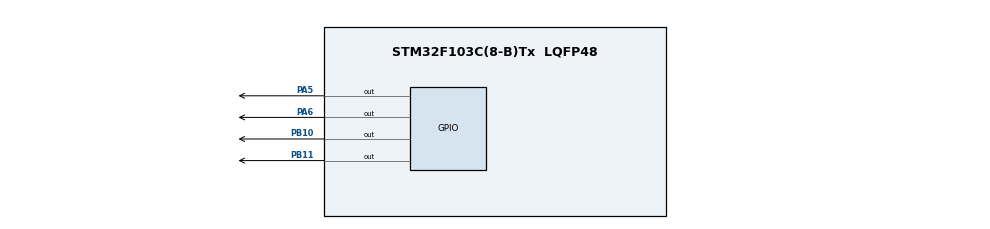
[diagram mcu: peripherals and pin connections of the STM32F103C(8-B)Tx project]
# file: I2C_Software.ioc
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Mcu.Family=STM32F1
Mcu.Name=STM32F103C(8-B)Tx
Mcu.Package=LQFP48
NVIC.PriorityGroup=NVIC_PRIORITYGROUP_4
PA13.Mode=Serial_Wire
PA13.Signal=SYS_JTMS-SWDIO
PA14.Mode=Serial_Wire
PA14.Signal=SYS_JTCK-SWCLK
PA5.Signal=GPIO_Output
PA6.Signal=GPIO_Output
PB10.Signal=GPIO_Output
PB11.Signal=GPIO_Output
ProjectManager.HeapSize=0x200
ProjectManager.StackSize=0x400
ProjectManager.TargetToolchain=STM32CubeIDE
RCC.APB1Freq_Value=8000000
RCC.APB2Freq_Value=8000000
board=custom

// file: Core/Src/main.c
/* USER CODE BEGIN Header */
/**
  ******************************************************************************
  * @file           : main.c
  * @brief          : Main program body
  ******************************************************************************
  * @attention
  *
  * Copyright (c) 2023 STMicroelectronics.
  * All rights reserved.
  *
  * This software is licensed under terms that can be found in the LICENSE file
  * in the root directory of this software component.
  * If no LICENSE file comes with this software, it is provided AS-IS.
  *
  ******************************************************************************
  */
/* USER CODE END Header */
#include "main.h"
#include "stm32f1xx_hal.h"

/* USER CODE BEGIN PD */
#define I2C_PIN_SCL GPIO_PIN_10
#define I2C_PIN_SDA GPIO_PIN_11
#define I2C_GPIO_PORT GPIOB
#define I2C_READ 1
#define I2C_WRITE 0

/* USER CODE END PD */

void SystemClock_Config(void);
static void MX_GPIO_Init(void);
void i2c_init(void);
void i2c_start(void);
void i2c_stop(void);
void i2c_write(uint8_t);

/* USER CODE BEGIN 0 */
void i2c_init(void)
{
  // Khởi tạo các chân GPIO cho I2C
  GPIO_InitTypeDef GPIO_InitStruct;

  GPIO_InitStruct.Pin = I2C_PIN_SCL | I2C_PIN_SDA;
  GPIO_InitStruct.Mode = GPIO_MODE_OUTPUT_OD;
  GPIO_InitStruct.Pull = GPIO_NOPULL;
  GPIO_InitStruct.Speed = GPIO_SPEED_FREQ_HIGH;
  HAL_GPIO_Init(I2C_GPIO_PORT, &GPIO_InitStruct);

  // Đặt giá tr�? ban đầu cho các chân GPIO
  HAL_GPIO_WritePin(I2C_GPIO_PORT, I2C_PIN_SCL | I2C_PIN_SDA, GPIO_PIN_SET);
}

void i2c_start(void)
{
  // Đặt chân SDA th�?nh đầu ra v�? đặt giá tr�? HIGH
  GPIO_InitTypeDef GPIO_InitStruct;

  GPIO_InitStruct.Pin = I2C_PIN_SDA;
  GPIO_InitStruct.Mode = GPIO_MODE_OUTPUT_OD;
  GPIO_InitStruct.Pull = GPIO_NOPULL;
  GPIO_InitStruct.Speed = GPIO_SPEED_FREQ_HIGH;
  HAL_GPIO_Init(I2C_GPIO_PORT, &GPIO_InitStruct);

  HAL_GPIO_WritePin(I2C_GPIO_PORT, I2C_PIN_SDA, GPIO_PIN_SET);
  HAL_GPIO_WritePin(I2C_GPIO_PORT, I2C_PIN_SCL, GPIO_PIN_SET);

  // Đợi một chút trước khi ghi giá tr�? LOW v�?o chân SDA
  HAL_Delay(1);

  HAL_GPIO_WritePin(I2C_GPIO_PORT, I2C_PIN_SDA, GPIO_PIN_RESET);

  // Đợi một chút trước khi ghi giá tr�? LOW v�?o chân SCL
  HAL_Delay(1);

  HAL_GPIO_WritePin(I2C_GPIO_PORT, I2C_PIN_SCL, GPIO_PIN_RESET);
}

void i2c_stop(void)
{
  // Đặt chân SDA th�?nh đầu ra v�? đặt giá tr�? LOW
  GPIO_InitTypeDef GPIO_InitStruct;

  GPIO_InitStruct.Pin = I2C_PIN_SDA;
  GPIO_InitStruct.Mode = GPIO_MODE_OUTPUT_OD;
  GPIO_InitStruct.Pull = GPIO_NOPULL;
  GPIO_InitStruct.Speed = GPIO_SPEED_FREQ_HIGH;
  HAL_GPIO_Init(I2C_GPIO_PORT, &GPIO_InitStruct);

  HAL_GPIO_WritePin(I2C_GPIO_PORT, I2C_PIN_SDA, GPIO_PIN_RESET);
  HAL_GPIO_WritePin(I2C_GPIO_PORT, I2C_PIN_SCL, GPIO_PIN_SET);

  // Đợi một chút trước khi đặt giá tr�? HIGH v�?o chân SDA
  HAL_Delay(1);

  HAL_GPIO_WritePin(I2C_GPIO_PORT, I2C_PIN_SDA, GPIO_PIN_SET);
}

void i2c_write(uint8_t data)
{
  // Ghi từng bit của dữ liệu v�?o chân SDA
  for (uint8_t i = 0; i < 8; i++) {
    if ((data & (1 << (7 - i))) != 0) {
      HAL_GPIO_WritePin(I2C_GPIO_PORT, I2C_PIN_SDA, GPIO_PIN_SET);
    } else {
      HAL_GPIO_WritePin(I2C_GPIO_PORT, I2C_PIN_SDA, GPIO_PIN_RESET);
    }

    // Đợi một chút trước khi ghi giá tr�? HIGH v�?o chân SCL
    HAL_Delay(1);

    HAL_GPIO_WritePin(I2C_GPIO_PORT, I2C_PIN_SCL, GPIO_PIN_SET);

    // Đợi một chút trước khi ghi giá tr�? LOW v�?o chân SCL
    HAL_Delay(1);

    HAL_GPIO_WritePin(I2C_GPIO_PORT, I2C_PIN_SCL, GPIO_PIN_RESET);
  }

  // Đợi một chút trước khi đọc giá tr�? ACK từ chân SDA
  HAL_Delay(1);

  // Đặt chân SDA th�?nh đầu v�?o v�? đọc giá tr�? ACK
  GPIO_InitTypeDef GPIO_InitStruct;

  GPIO_InitStruct.Pin = I2C_PIN_SDA;
  GPIO_InitStruct.Mode = GPIO_MODE_INPUT;
  GPIO_InitStruct.Pull = GPIO_NOPULL;
  GPIO_InitStruct.Speed = GPIO_SPEED_FREQ_HIGH;
  HAL_GPIO_Init(I2C_GPIO_PORT, &GPIO_InitStruct);

  HAL_GPIO_WritePin(I2C_GPIO_PORT, I2C_PIN_SCL, GPIO_PIN_SET);

  // Đợi một chút trước khi đọc giá tr�? ACK từ chân SDA
  HAL_Delay(1);

  uint8_t ack = HAL_GPIO_ReadPin(I2C_GPIO_PORT, I2C_PIN_SDA);

  HAL_GPIO_WritePin(I2C_GPIO_PORT, I2C_PIN_SCL, GPIO_PIN_RESET);

  // Trả v�? giá tr�? ACK
  return ack == GPIO_PIN_RESET;
}

uint8_t i2c_read(uint8_t ack)
{
  uint8_t data = 0;

  // Đặt chân SDA th�?nh đầu v�?o v�? đọc từng bit của dữ liệu
  GPIO_InitTypeDef GPIO_InitStruct;

  GPIO_InitStruct.Pin = I2C_PIN_SDA;
  GPIO_InitStruct.Mode = GPIO_MODE_INPUT;
  GPIO_InitStruct.Pull = GPIO_NOPULL;
  GPIO_InitStruct.Speed = GPIO_SPEED_FREQ_HIGH;
  HAL_GPIO_Init(I2C_GPIO_PORT, &GPIO_InitStruct);

  for (uint8_t i = 0; i < 8; i++) {
    HAL_GPIO_WritePin(I2C_GPIO_PORT, I2C_PIN_SCL, GPIO_PIN_SET);

    // Đợi một chút trước khi đọc giá tr�? từ chân SDA
    HAL_Delay(1);

    data |= (HAL_GPIO_ReadPin(I2C_GPIO_PORT, I2C_PIN_SDA) << (7 - i));

    HAL_GPIO_WritePin(I2C_GPIO_PORT, I2C_PIN_SCL, GPIO_PIN_RESET);

    // Đợi một chút trước khi đọc giá tr�? từ chân SDA
    HAL_Delay(1);
  }

  // Ghi ACK hoặc NACK v�?o chân SDA
  GPIO_InitStruct.Pin = I2C_PIN_SDA;
  GPIO_InitStruct.Mode = GPIO_MODE_OUTPUT_OD;
    GPIO_InitStruct.Pull = GPIO_NOPULL;
    GPIO_InitStruct.Speed = GPIO_SPEED_FREQ_HIGH;
    HAL_GPIO_Init(I2C_GPIO_PORT, &GPIO_InitStruct);

    if (ack) {
      HAL_GPIO_WritePin(I2C_GPIO_PORT, I2C_PIN_SDA, GPIO_PIN_RESET);
    } else {
      HAL_GPIO_WritePin(I2C_GPIO_PORT, I2C_PIN_SDA, GPIO_PIN_SET);
    }

    // Đợi một chút trước khi ghi giá tr�? ACK hoặc NACK v�?o chân SCL
    HAL_Delay(1);

    HAL_GPIO_WritePin(I2C_GPIO_PORT, I2C_PIN_SCL, GPIO_PIN_SET);

    // Đợi một chút trước khi ghi giá tr�? ACK hoặc NACK v�?o chân SCL
    HAL_Delay(1);

    HAL_GPIO_WritePin(I2C_GPIO_PORT, I2C_PIN_SCL, GPIO_PIN_RESET);

    // Trả v�? dữ liệu đọc được
    return data;
}
/* USER CODE END 0 */

int main(void)
{

  /* MCU Configuration--------------------------------------------------------*/

  /* Reset of all peripherals, Initializes the Flash interface and the Systick. */

	HAL_Init();

  /* USER CODE BEGIN Init */
	SystemClock_Config();
  /* USER CODE END Init */

  /* Configure the system clock */

  /* Initialize all configured peripherals */

  /* USER CODE BEGIN 2 */
	MX_GPIO_Init();
	i2c_init();
  /* USER CODE END 2 */

  /* Infinite loop */
  while (1)
  {
	 /* for (uint8_t i = 1; i <= 100; i++) {
	        i2c_start();
	        i2c_write(0x27);
	        i2c_write(i);
	        i2c_stop();

	        // Đợi một chút trước khi gửi số tiếp theo
	        HAL_Delay(10);
	      }*/
	  HAL_GPIO_WritePin(GPIOB, GPIO_PIN_10, GPIO_PIN_SET);
	  HAL_GPIO_WritePin(GPIOB, GPIO_PIN_11, GPIO_PIN_SET);
  }
}

void SystemClock_Config(void)
{
  RCC_OscInitTypeDef RCC_OscInitStruct = {0};
  RCC_ClkInitTypeDef RCC_ClkInitStruct = {0};

  /** Initializes the RCC Oscillators according to the specified parameters
  * in the RCC_OscInitTypeDef structure.
  */
  RCC_OscInitStruct.OscillatorType = RCC_OSCILLATORTYPE_HSI;
  RCC_OscInitStruct.HSIState = RCC_HSI_ON;
  RCC_OscInitStruct.HSICalibrationValue = RCC_HSICALIBRATION_DEFAULT;
  RCC_OscInitStruct.PLL.PLLState = RCC_PLL_NONE;
  if (HAL_RCC_OscConfig(&RCC_OscInitStruct) != HAL_OK)
  {
    Error_Handler();
  }

  /** Initializes the CPU, AHB and APB buses clocks
  */
  RCC_ClkInitStruct.ClockType = RCC_CLOCKTYPE_HCLK|RCC_CLOCKTYPE_SYSCLK
                              |RCC_CLOCKTYPE_PCLK1|RCC_CLOCKTYPE_PCLK2;
  RCC_ClkInitStruct.SYSCLKSource = RCC_SYSCLKSOURCE_HSI;
  RCC_ClkInitStruct.AHBCLKDivider = RCC_SYSCLK_DIV1;
  RCC_ClkInitStruct.APB1CLKDivider = RCC_HCLK_DIV1;
  RCC_ClkInitStruct.APB2CLKDivider = RCC_HCLK_DIV1;

  if (HAL_RCC_ClockConfig(&RCC_ClkInitStruct, FLASH_LATENCY_0) != HAL_OK)
  {
    Error_Handler();
  }
}

static void MX_GPIO_Init(void)
{
  GPIO_InitTypeDef GPIO_InitStruct = {0};

  /* GPIO Ports Clock Enable */
  __HAL_RCC_GPIOA_CLK_ENABLE();
  __HAL_RCC_GPIOB_CLK_ENABLE();

  /*Configure GPIO pin Output Level */
  HAL_GPIO_WritePin(GPIOA, GPIO_PIN_5|GPIO_PIN_6, GPIO_PIN_RESET);

  /*Configure GPIO pin Output Level */
  HAL_GPIO_WritePin(GPIOB, GPIO_PIN_10|GPIO_PIN_11, GPIO_PIN_RESET);

  /*Configure GPIO pins : PA5 PA6 */
  GPIO_InitStruct.Pin = GPIO_PIN_5|GPIO_PIN_6;
  GPIO_InitStruct.Mode = GPIO_MODE_OUTPUT_PP;
  GPIO_InitStruct.Pull = GPIO_NOPULL;
  GPIO_InitStruct.Speed = GPIO_SPEED_FREQ_LOW;
  HAL_GPIO_Init(GPIOA, &GPIO_InitStruct);

  /*Configure GPIO pins : PB10 PB11 */
  GPIO_InitStruct.Pin = GPIO_PIN_10|GPIO_PIN_11;
  GPIO_InitStruct.Mode = GPIO_MODE_OUTPUT_PP;
  GPIO_InitStruct.Pull = GPIO_NOPULL;
  GPIO_InitStruct.Speed = GPIO_SPEED_FREQ_LOW;
  HAL_GPIO_Init(GPIOB, &GPIO_InitStruct);

}

void Error_Handler(void)
{
  __disable_irq();
  while (1)
  {
  }
}
